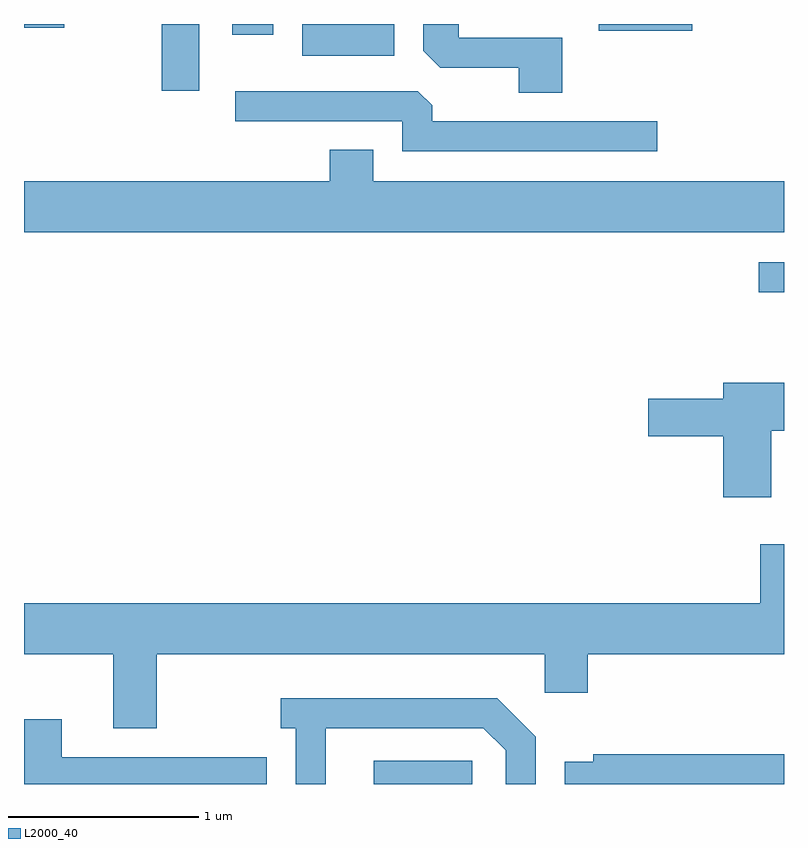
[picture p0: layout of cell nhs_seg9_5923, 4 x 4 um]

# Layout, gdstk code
import gdstk
lib = gdstk.Library(unit=1e-6, precision=1e-09)
def R(c, l, rs):  # rectangles x0, y0, x1, y1
    for r in rs: c.add(gdstk.rectangle(r[:2], r[2:], *l))
def P(c, l, *ps):  # polygons
    for p in ps: c.add(gdstk.Polygon(p, *l))
L2000_40 = (2000, 40)

nhs_seg9_5923 = lib.new_cell('nhs_seg9_5923')
R(nhs_seg9_5923, L2000_40, [(361.453,2024.432,361.969,2024.554), (363.478,2027.021,363.611,2027.179), (360.336,2028.081,360.534,2028.432), (361.076,2028.266,361.559,2028.432), (360.706,2028.376,360.924,2028.432), (362.636,2028.396,363.129,2028.432), (359.611,2028.411,359.824,2028.432)])
P(nhs_seg9_5923, L2000_40, [(362.444,2028.359),(361.899,2028.359),(361.899,2028.432),(361.711,2028.432),(361.711,2028.292),(361.802,2028.201),(362.216,2028.201),(362.216,2028.071),(362.444,2028.071)],
  [(362.943,2027.919),(361.759,2027.919),(361.759,2028.004),(361.684,2028.079),(360.723,2028.079),(360.723,2027.921),(361.601,2027.921),(361.601,2027.761),(362.943,2027.761)],
  [(363.611,2027.604),(361.449,2027.604),(361.449,2027.769),(361.221,2027.769),(361.221,2027.604),(359.611,2027.604),(359.611,2027.336),(363.611,2027.336)],
  [(363.544,2026.291),(363.611,2026.291),(363.611,2026.544),(363.291,2026.544),(363.291,2026.459),(362.896,2026.459),(362.896,2026.261),(363.291,2026.261),(363.291,2025.941),(363.544,2025.941)],
  [(360.309,2025.116),(362.351,2025.116),(362.351,2024.911),(362.579,2024.911),(362.579,2025.116),(363.611,2025.116),(363.611,2025.694),(363.486,2025.694),(363.486,2025.384),(359.611,2025.384),(359.611,2025.116),(360.081,2025.116),(360.081,2024.726),(360.309,2024.726)],
  [(361.199,2024.726),(362.029,2024.726),(362.146,2024.609),(362.146,2024.432),(362.304,2024.432),(362.304,2024.682),(362.102,2024.884),(360.963,2024.884),(360.963,2024.726),(361.041,2024.726),(361.041,2024.432),(361.199,2024.432)],
  [(360.889,2024.574),(359.809,2024.574),(359.809,2024.774),(359.611,2024.774),(359.611,2024.432),(360.889,2024.432)],
  [(363.611,2024.589),(362.606,2024.589),(362.606,2024.549),(362.456,2024.549),(362.456,2024.432),(363.611,2024.432)])

lib.write_gds('nhs_seg9_5923.gds')
